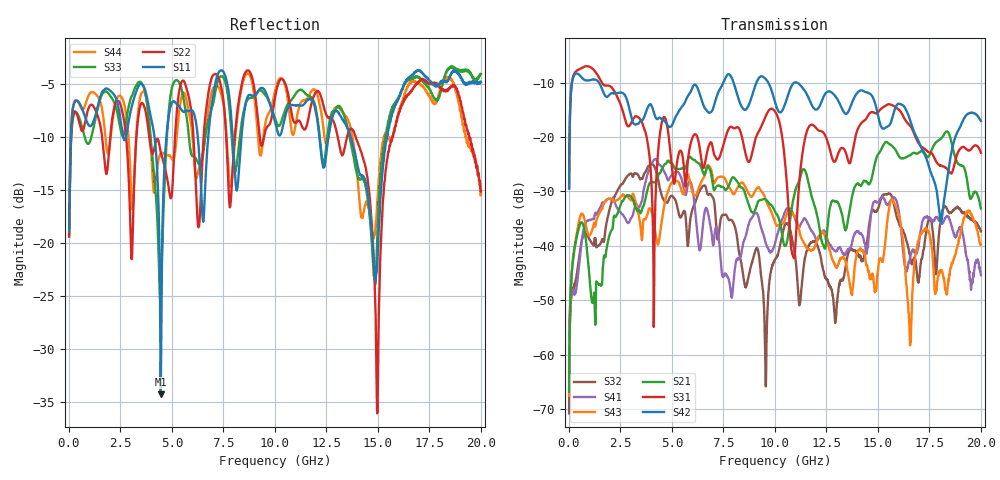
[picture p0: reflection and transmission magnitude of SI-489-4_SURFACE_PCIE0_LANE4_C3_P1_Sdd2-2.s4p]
! S11 = S11
! S12 = S12
! S13 = S13
! S14 = S14
! S21 = S21
! S22 = S22
! S23 = S23
! S24 = S24
! S31 = S31
! S32 = S32
! S33 = S33
! S34 = S34
! S41 = S41
! S42 = S42
! S43 = S43
! S44 = S44
! FILE: E:\Projects\06_2015\060415_VNA_EOS_MUX_EVAL\SI-489-3_EOS_MUX_EVAL_A0_B0_SEL=1.s4p
!$DUT_CFG_DESC: Default 4-Port Configuration
!$NUMBER_PORTS: 4
!$DIFF_PORT_MAP: 1|2P|2|2P|0|UC|0|UC|
!$PORT_MAP: 1|1|<<<<<<|2|2|>>>>>>|3|3|<<<<<<|4|4|>>>>>>|
# MHz S RI R 50.00
! FREQ  S11  S12  S13  S14
!  S21  S22  S23  S24
!  S31  S32  S33  S34
!  S41  S42  S43  S44
!  REAL  IMAG  REAL  IMAG  REAL  IMAG  REAL  IMAG
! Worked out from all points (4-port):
!   2000 points, 10 MHz to 20 GHz, reference 50 ohm
!   strongest paths, dB at 10 MHz, 5.01 GHz, 10.01 GHz, 15.01 GHz, 20 GHz:
!     S42: -29.5, -17.8, -13.7, -16.1, -17.0
!     S31: -29.3, -26.1, -15.3, -15.4, -22.9
!     S21: -66.9, -24.8, -33.7, -23.2, -33.1
!     S43: -67.5, -28.3, -35.7, -44.4, -39.8
!     S41: -63.4, -26.9, -39.5, -32.0, -45.4
!     S32: -70.8, -30.8, -42.5, -33.1, -37.3
!   lowest |S11| = -34.3 dB at 4.46 GHz (marker M1), VSWR 1.04, Z = 50.7 - j1.81 ohm
!   |S11| at or under -10 dB: 4.158 GHz to 4.732 GHz (573.7 MHz wide, 12.9 % of centre); 6.256 GHz to 6.762 GHz (506 MHz wide, 7.77 % of centre); 13.67 GHz to 15.43 GHz (1.761 GHz wide, 12.1 % of centre)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
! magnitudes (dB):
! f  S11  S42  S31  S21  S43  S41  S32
! 10 MHz  -18.8  -29.5  -29.3  -66.9  -67.5  -63.4  -70.8
! 590 MHz  -7.1  -8.9  -7.4  -35.7  -34.2  -40.1  -39.7
! 4.46 GHz  -34.3  -16.6  -18.3  -26.4  -36.9  -25.2  -30.1
! 9.56 GHz  -5.8  -9.4  -16.1  -31.4  -31.6  -39.5  -65.8
! 10.89 GHz  -7.0  -10.2  -41.9  -31.5  -34.2  -34.2  -39.9
! 11.74 GHz  -6.4  -13.7  -17.8  -30.2  -40.8  -37.0  -39.5
! 20 GHz  -4.8  -17.0  -22.9  -33.1  -39.8  -45.4  -37.3
